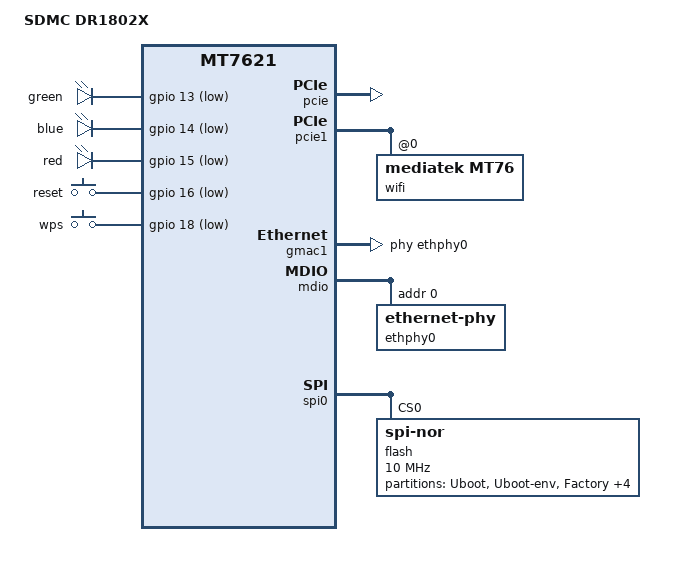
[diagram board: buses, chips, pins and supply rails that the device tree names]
// SPDX-License-Identifier: GPL-2.0-or-later OR MIT

#include "mt7621.dtsi"

#include <dt-bindings/gpio/gpio.h>
#include <dt-bindings/input/input.h>

/ {
	compatible = "sdmc,dr1802x", "mediatek,mt7621-soc";
	model = "SDMC DR1802X";

	aliases {
		led-boot = &led_green;
		led-failsafe = &led_red;
		led-running = &led_blue;
		led-upgrade = &led_red;
		label-mac-device = &gmac1;
	};

	chosen {
		bootargs-override = "console=ttyS0,115200";
		// bootargs-override = "console=ttyS0,115200 rootfstype=squashfs,jffs2";
	};

	leds {
		compatible = "gpio-leds";

		led_green: green {
			label = "green";
			gpios = <&gpio 13 GPIO_ACTIVE_LOW>;
		};

		led_blue: blue {
			label = "blue";
			gpios = <&gpio 14 GPIO_ACTIVE_LOW>;
		};

		led_red: red {
			label = "red";
			gpios = <&gpio 15 GPIO_ACTIVE_LOW>;
		};
	};

	keys {
		compatible = "gpio-keys-polled";
		poll-interval = <50>;

		reset {
			label = "reset";
			gpios = <&gpio 16 GPIO_ACTIVE_LOW>;
			linux,code = <KEY_RESTART>;
		};

		wps {
			label = "wps";
			gpios = <&gpio 18 GPIO_ACTIVE_LOW>;
			linux,code = <KEY_WPS_BUTTON>;
		};
	};
};

&pcie {
	status = "okay";
};

&pcie1 {
	wifi@0,0 {
		compatible = "mediatek,mt76";
		reg = <0x0 0 0 0 0>;
		mediatek,mtd-eeprom = <&factory 0x0>;
		mediatek,disable-radar-background;
	};
};

&gmac0 {
	nvmem-cells = <&macaddr_factory_3f806>;
	nvmem-cell-names = "mac-address";
};

&gmac1 {
	status = "okay";
	label = "wan";
	phy-handle = <&ethphy0>;

	nvmem-cells = <&macaddr_factory_3f806>;
	nvmem-cell-names = "mac-address";
	mac-address-increment = <1>;
};

&mdio {
	ethphy0: ethernet-phy@0 {
		reg = <0>;
	};
};

&switch0 {
	ports {
		port@1 {
			status = "okay";
			label = "lan";
		};
	};
};

/* &state_default {
	gpio {
		groups = "uart3";
		function = "gpio";
	};
}; */

&spi0 {
	status = "okay";

	flash@0 {
		compatible = "jedec,spi-nor";
		reg = <0>;
		// spi-max-frequency = <50000000>;
		spi-max-frequency = <10000000>;

		partitions {
			compatible = "fixed-partitions";
			#address-cells = <1>;
			#size-cells = <1>;

			partition@0 {
				label = "Uboot";
				reg = <0x0 0x40000>;
				read-only;
			};

			partition@40000 {
				label = "Uboot-env";
				reg = <0x40000 0x10000>;
				read-only;
			};

			factory: partition@50000 {
				label = "Factory";
				reg = <0x50000 0x40000>;
				read-only;
			};

			partition@90000 {
				label = "Factory-Backup";
				reg = <0x90000 0x40000>;
				read-only;
			};

			partition@d0000 {
				label = "OEM-rootfs-data";
				reg = <0xd0000 0x180000>;
				read-only;
			};

			partition@250000 {
				label = "OEM-rootfs-data_backup";
				reg = <0x250000 0x180000>;
				read-only;
			};

			partition@3d0000 {
				compatible = "denx,fit";
				label = "firmware";
				reg = <0x3d0000 0xc30000>;
			};
		};
	};
};

&factory {
	compatible = "nvmem-cells";
	#address-cells = <1>;
	#size-cells = <1>;

	macaddr_factory_3f806: macaddr@3f806 {
		reg = <0x3f806 0x6>;
	};
};
